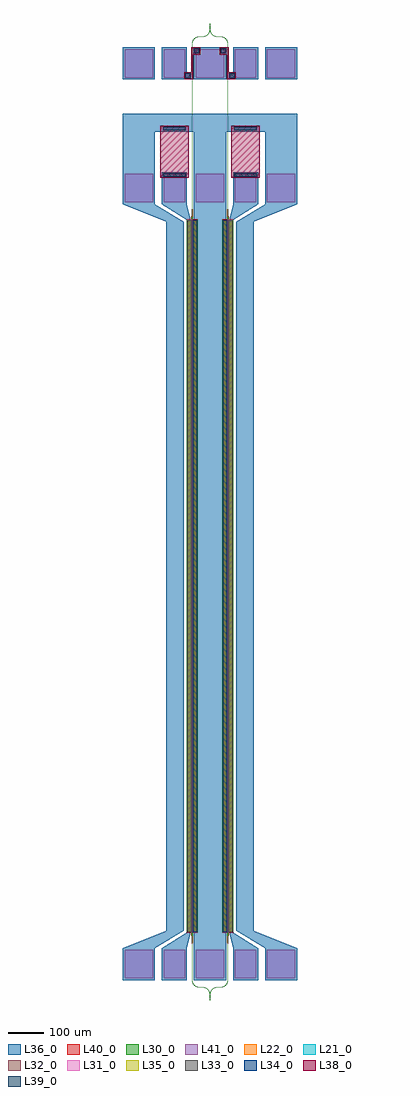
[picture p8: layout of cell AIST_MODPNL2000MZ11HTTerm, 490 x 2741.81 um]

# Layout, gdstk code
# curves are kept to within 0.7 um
import gdstk
lib = gdstk.Library(unit=1e-6, precision=1e-09)
def R(c, l, rs):  # rectangles x0, y0, x1, y1
    for r in rs: c.add(gdstk.rectangle(r[:2], r[2:], *l))
def A(c, l, x, y, w, h, nx, ny, dx, dy):  # array of equal rectangles
    R(c, l, [(x+i*dx, y+j*dy, x+i*dx+w, y+j*dy+h) for i in range(nx) for j in range(ny)])
def P(c, l, *ps):  # polygons
    for p in ps: c.add(gdstk.Polygon(p, *l))
L21_0 = (21, 0)
L22_0 = (22, 0)
L30_0 = (30, 0)
L31_0 = (31, 0)
L32_0 = (32, 0)
L33_0 = (33, 0)
L34_0 = (34, 0)
L35_0 = (35, 0)
L36_0 = (36, 0)
L38_0 = (38, 0)
L39_0 = (39, 0)
L40_0 = (40, 0)
L41_0 = (41, 0)

aist_modpnl2000mz11htter = lib.new_cell('AIST_MODPNL2000MZ11HTTerm')
R(aist_modpnl2000mz11htter, L21_0, [(-64.5,229.15,-49.85,2229.65), (49.85,229.15,64.5,2229.65)])
R(aist_modpnl2000mz11htter, L22_0, [(-50.15,228.9,-35.5,2229.9), (35.5,228.9,50.15,2229.9)])
P(aist_modpnl2000mz11htter, L30_0, [(-0.22,38.696),(-1.19,58.454),(-3.172,63.848),(-6.563,68.387),(-11.032,71.74),(-16.026,73.656),(-32.156,74.295),(-38.453,76.031),(-45.041,80.886),(-49.165,87.954),(-50.219,94.16),(-51,228.4),(-65,228.4),(-65,2230.4),(-51,2230.4),(-50.305,2250.4),(-50.078,2727.194),(-46.627,2736.307),(-39.527,2742.635),(-32.394,2744.878),(-16.182,2745.508),(-7.498,2749.937),(-1.984,2757.976),(-0.828,2763.28),(-1.005,2770.576),(-0.095,2770.576),(-1.285,2758.658),(-6.858,2749.921),(-15.873,2745.128),(-32.635,2744.404),(-39.867,2741.943),(-47.063,2734.805),(-49.779,2725.04),(-49.695,2250.4),(-49,2230.4),(-35,2230.4),(-35,228.4),(-49,228.4),(-49.753,93.359),(-46.773,83.915),(-39.728,77.177),(-32.635,74.796),(-15.873,74.072),(-7.036,69.441),(-1.385,60.846),(-0.095,48.624),(1.489,61.148),(7.276,69.653),(16.106,74.126),(32.317,74.756),(39.307,76.946),(46.244,83.113),(49.644,92.083),(49,228.4),(35,228.4),(35,2230.4),(49,2230.4),(49.695,2250.4),(49.779,2725.04),(47.063,2734.805),(40.005,2741.863),(32.635,2744.404),(15.175,2745.307),(9.778,2747.688),(5.509,2751.286),(1.411,2758.278),(0.095,2770.576),(-1.105,2770.576),(0.22,2780.504),(1.142,2760.98),(2.911,2755.849),(6.063,2751.332),(10.338,2747.86),(15.482,2745.68),(32.633,2744.848),(39.668,2742.559),(46.717,2736.175),(50.078,2727.194),(50.305,2250.4),(51,2230.4),(65,2230.4),(65,228.4),(51,228.4),(50.219,94.16),(49.139,87.878),(45.041,80.886),(38.453,76.031),(32.156,74.295),(16.026,73.656),(11.032,71.74),(6.563,68.387),(3.21,63.918),(1.258,58.768),(1.105,44.472)])
R(aist_modpnl2000mz11htter, L31_0, [(-64.5,228.9,-50,2229.9), (50,228.9,64.5,2229.9)])
R(aist_modpnl2000mz11htter, L32_0, [(-50,228.9,-35.5,2229.9), (35.5,228.9,50,2229.9)])
R(aist_modpnl2000mz11htter, L33_0, [(-64.5,229.4,-51.15,2229.4), (51.15,229.4,64.5,2229.4)])
R(aist_modpnl2000mz11htter, L34_0, [(-48.85,229.4,-35.5,2229.4), (35.5,229.4,48.85,2229.4)])
R(aist_modpnl2000mz11htter, L35_0, [(-63,230.4,-56,2228.4), (-44,230.4,-37,2228.4), (37,230.4,44,2228.4), (56,230.4,63,2228.4)])
A(aist_modpnl2000mz11htter, L36_0, -245, 94.4, 90, 90, 3, 2, 200, 2180)
A(aist_modpnl2000mz11htter, L36_0, -245, 2364.4, 90, 114, 3, 1, 200, 0)
A(aist_modpnl2000mz11htter, L36_0, -245, 2624.8, 90, 90, 3, 1, 200, 0)
R(aist_modpnl2000mz11htter, L36_0, [(-245,94.4,-155,184.4), (-135,94.4,-65,184.4), (65,94.4,135,184.4), (155,94.4,245,184.4), (-64.5,229.4,-54.5,2229.4), (-45.5,229.4,45.5,2229.4), (54.5,229.4,64.5,2229.4), (-123.5,233.4,-73.5,2225.4), (73.5,233.4,123.5,2225.4), (-245,2274.4,-155,2364.4), (-135,2274.4,-65,2364.4), (65,2274.4,135,2364.4), (-245,2478.4,245,2528.4), (-135,2624.8,-65,2714.8), (-72.5,2624.8,-52.5,2644.8), (-72.5,2624.8,-52.5,2644.8), (52.5,2624.8,72.5,2644.8), (52.5,2624.8,72.5,2644.8), (65,2624.8,135,2714.8), (-47.5,2694.8,-27.5,2714.8), (-47.5,2694.8,-27.5,2714.8), (27.5,2694.8,47.5,2714.8), (27.5,2694.8,47.5,2714.8)])
P(aist_modpnl2000mz11htter, L36_0, [(-123.5,2225.4),(-245,2274.4),(-155,2274.4),(-73.5,2225.4)],
  [(-64.5,2229.4),(-135,2274.4),(-65,2274.4),(-54.5,2229.4)],
  [(-45.5,2229.4),(-45,2274.4),(45,2274.4),(45.5,2229.4)],
  [(54.5,2229.4),(65,2274.4),(135,2274.4),(64.5,2229.4)],
  [(73.5,2225.4),(155,2274.4),(245,2274.4),(123.5,2225.4)],
  [(-245,184.4),(-123.5,233.4),(-73.5,233.4),(-155,184.4)],
  [(-135,184.4),(-64.5,229.4),(-54.5,229.4),(-65,184.4)],
  [(-45,184.4),(-45.5,229.4),(45.5,229.4),(45,184.4)],
  [(65,184.4),(54.5,229.4),(64.5,229.4),(135,184.4)],
  [(155,184.4),(73.5,233.4),(123.5,233.4),(245,184.4)])
R(aist_modpnl2000mz11htter, L38_0, [(-140,2348.4,-60,2494.4), (60,2348.4,140,2494.4), (-72.5,2624.8,-52.5,2644.8), (-52.5,2624.8,-47.5,2714.8), (47.5,2624.8,52.5,2714.8), (52.5,2624.8,72.5,2644.8), (-47.5,2694.8,-27.5,2714.8), (27.5,2694.8,47.5,2714.8)])
R(aist_modpnl2000mz11htter, L39_0, [(-132,2351.4,-68,2361.4), (68,2351.4,132,2361.4), (-132,2481.4,-68,2491.4), (68,2481.4,132,2491.4), (-69.5,2627.8,-55.5,2641.8), (55.5,2627.8,69.5,2641.8), (-44.5,2697.8,-30.5,2711.8), (30.5,2697.8,44.5,2711.8)])
P(aist_modpnl2000mz11htter, L40_0, [(48.78,198.4),(48.695,208.4),(48,227.4),(34,227.4),(34,2231.4),(48,2231.4),(48.695,2250.4),(48.78,2260.4),(49.695,2260.4),(49.695,198.4)],
  [(50.305,198.4),(50.305,2260.4),(51.22,2260.4),(51.305,2250.4),(52,2231.4),(66,2231.4),(66,227.4),(52,227.4),(51.305,208.4),(51.22,198.4)],
  [(-51.22,198.4),(-51.305,208.4),(-52,227.4),(-66,227.4),(-66,2231.4),(-52,2231.4),(-51.305,2250.4),(-51.22,2260.4),(-50.305,2260.4),(-50.305,198.4)],
  [(-49.695,198.4),(-49.695,2260.4),(-48.78,2260.4),(-48.695,2250.4),(-48,2231.4),(-34,2231.4),(-34,227.4),(-48,227.4),(-48.695,208.4),(-48.78,198.4)])
A(aist_modpnl2000mz11htter, L41_0, -240, 99.4, 80, 80, 3, 2, 200, 2180)
A(aist_modpnl2000mz11htter, L41_0, -240, 2629.8, 80, 80, 3, 1, 200, 0)
R(aist_modpnl2000mz11htter, L41_0, [(-240,99.4,-160,179.4), (-130,99.4,-70,179.4), (70,99.4,130,179.4), (160,99.4,240,179.4), (-240,2279.4,-160,2359.4), (-130,2279.4,-70,2359.4), (70,2279.4,130,2359.4), (-130,2629.8,-70,2709.8), (70,2629.8,130,2709.8)])

lib.write_gds('AIST_MODPNL2000MZ11HTTerm.gds')
